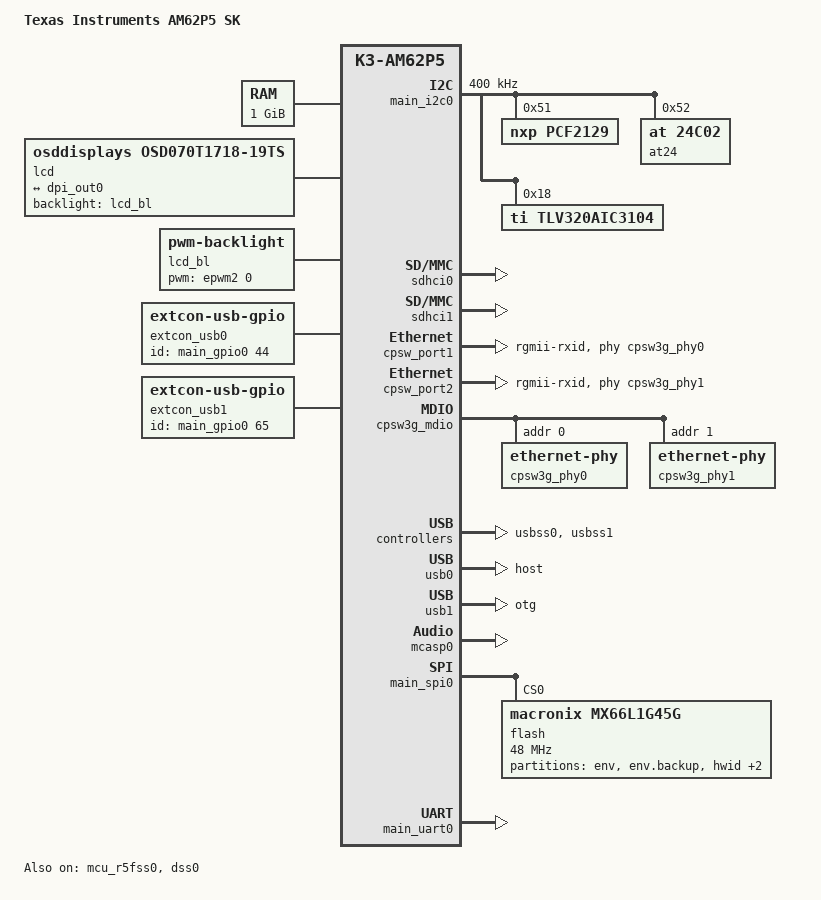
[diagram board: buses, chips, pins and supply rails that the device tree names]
// SPDX-License-Identifier: GPL-2.0-only OR MIT
/*
 * Device Tree file for the AM62P5-SK
 * Copyright (C) 2023-2024 Texas Instruments Incorporated - https://www.ti.com/
 *
 * Schematics: https://www.ti.com/lit/zip/sprr487
 */

/dts-v1/;

#include <dt-bindings/leds/common.h>
#include <dt-bindings/gpio/gpio.h>
#include <dt-bindings/net/ti-dp83867.h>
#include "k3-am62p5.dtsi"

/ {
	compatible = "ti,am62p5-sk", "ti,am62p5";
	model = "Texas Instruments AM62P5 SK";

	aliases {
		//serial0 = &wkup_uart0;
		serial2 = &main_uart0;
		//serial3 = &main_uart1;
		//mmc0 = &sdhci0;
		mmc1 = &sdhci1;
		//mmc2 = &sdhci2;
		spi0 = &main_spi0;
		ethernet0 = &cpsw_port1;
		ethernet1 = &cpsw_port2;
		//usb0 = &usb0;
		//usb1 = &usb1;
	};

	chosen {
		stdout-path = &main_uart0;
	};

	memory@80000000 {
		/* 1G RAM */
		reg = <0x00000000 0x80000000 0x00000000 0x40000000>;
		device_type = "memory";
		bootph-pre-ram;
	};

	reserved-memory {
		#address-cells = <2>;
		#size-cells = <2>;
		ranges;

		secure_tfa_ddr: tfa@9e780000 {
			reg = <0x00 0x9e780000 0x00 0x80000>;
			no-map;
		};

		secure_ddr: optee@9e800000 {
			reg = <0x00 0x9e800000 0x00 0x01800000>; /* for OP-TEE */
			no-map;
		};

		wkup_r5fss0_core0_memory_region: r5f-dma-memory@9c900000 {
			compatible = "shared-dma-pool";
			reg = <0x00 0x9c900000 0x00 0x01e00000>;
			no-map;
		};
	};

//	vmain_pd: regulator-0 {
//		/* TPS65988 PD CONTROLLER OUTPUT */
//		compatible = "regulator-fixed";
//		regulator-name = "vmain_pd";
//		regulator-min-microvolt = <5000000>;
//		regulator-max-microvolt = <5000000>;
//		regulator-always-on;
//		regulator-boot-on;
//		bootph-all;
//	};
//
//	vcc_5v0: regulator-1 {
//		/* Output of TPS630702RNMR */
//		compatible = "regulator-fixed";
//		regulator-name = "vcc_5v0";
//		regulator-min-microvolt = <5000000>;
//		regulator-max-microvolt = <5000000>;
//		vin-supply = <&vmain_pd>;
//		regulator-always-on;
//		regulator-boot-on;
//		bootph-all;
//	};
//
//	vdd_mmc1: regulator-2 {
//		/* TPS22918DBVR */
//		compatible = "regulator-fixed";
//		regulator-name = "vdd_mmc1";
//		regulator-min-microvolt = <3300000>;
//		regulator-max-microvolt = <3300000>;
//		regulator-boot-on;
//		enable-active-high;
//		gpio = <&exp1 3 GPIO_ACTIVE_HIGH>;
//		bootph-all;
//	};
//
//	vddshv_sdio: regulator-3 {
//		compatible = "regulator-gpio";
//		regulator-name = "vddshv_sdio";
//		pinctrl-names = "default";
//		pinctrl-0 = <&vddshv_sdio_pins_default>;
//		regulator-min-microvolt = <1800000>;
//		regulator-max-microvolt = <3300000>;
//		regulator-boot-on;
//		gpios = <&main_gpio0 31 GPIO_ACTIVE_HIGH>;
//		states = <1800000 0x0>,
//			 <3300000 0x1>;
//		bootph-all;
//	};
//
//	leds {
//		compatible = "gpio-leds";
//		pinctrl-names = "default";
//		pinctrl-0 = <&usr_led_pins_default>;
//
//		led-0 {
//			label = "am62-sk:green:heartbeat";
//			gpios = <&main_gpio1 49 GPIO_ACTIVE_HIGH>;
//			linux,default-trigger = "heartbeat";
//			function = LED_FUNCTION_HEARTBEAT;
//			default-state = "off";
//		};
//	};
//
//	tlv320_mclk: clk-0 {
//		#clock-cells = <0>;
//		compatible = "fixed-clock";
//		clock-frequency = <12288000>;
//	};
//
//	codec_audio: sound {
//		compatible = "simple-audio-card";
//		simple-audio-card,name = "AM62x-SKEVM";
//		simple-audio-card,widgets =
//			"Headphone",	"Headphone Jack",
//			"Line",		"Line In",
//			"Microphone",	"Microphone Jack";
//		simple-audio-card,routing =
//			"Headphone Jack",	"HPLOUT",
//			"Headphone Jack",	"HPROUT",
//			"LINE1L",		"Line In",
//			"LINE1R",		"Line In",
//			"MIC3R",		"Microphone Jack",
//			"Microphone Jack",	"Mic Bias";
//		simple-audio-card,format = "dsp_b";
//		simple-audio-card,bitclock-master = <&sound_master>;
//		simple-audio-card,frame-master = <&sound_master>;
//		simple-audio-card,bitclock-inversion;
//
//		simple-audio-card,cpu {
//			sound-dai = <&mcasp1>;
//		};
//
//		sound_master: simple-audio-card,codec {
//			sound-dai = <&tlv320aic3106>;
//			clocks = <&tlv320_mclk>;
//		};
//	};
//
//	hdmi0: connector-hdmi {
//		compatible = "hdmi-connector";
//		label = "hdmi";
//		type = "a";
//		port {
//			hdmi_connector_in: endpoint {
//				remote-endpoint = <&sii9022_out>;
//			};
//		};
//	};
	// LCD Display
	display0 {
			compatible ="osddisplays,osd070t1718-19ts";
			label = "lcd";
			backlight = <&lcd_bl>;
			port {
				lcd_in0: endpoint {
						remote-endpoint = <&dpi_out0>;
						};
				};
		};

	// LCD PWM backlight
	lcd_bl: backlight {
        	compatible = "pwm-backlight";
                pwms = <&epwm2 0 5000000 0>;
                brightness-levels =
                       	<0 32 64 96 128 160 192 224 255>;
                default-brightness-level = <5>;
        };
	
//	// Watchdog 
//	watchdog {
//		compatible = "ti,tps3823_wdt";
//	};
	// USB0 extcon
	extcon_usb0: extcon-usb0 {
		compatible = "linux,extcon-usb-gpio";
		id-gpios = <&main_gpio0 44 GPIO_ACTIVE_HIGH>;
	};
	// USB1 extcon
	extcon_usb1: extcon-usb1 {
		compatible = "linux,extcon-usb-gpio";
		id-gpios = <&main_gpio0 65 GPIO_ACTIVE_HIGH>;
	};

//	// Sound
//	sound {
//		compatible = "simple-audio-card";
//		simple-audio-card,name = "AM62P-GHMI-SOUND";
//		simple-audio-card,widgets =
//					"Headphone", "Headphone Jack";
//		simple-audio-card,routing =
//					"Headphone Jack",       "HPLOUT",
//					"Headphone Jack",       "HPROUT";
//		simple-audio-card,format = "i2s";
//		simple-audio-card,bitclock-master = <&sound_master>;
//		simple-audio-card,frame-master = <&sound_master>;
//		simple-audio-card,bitclock-inversion;
//
//		simple-audio-card,cpu {
//					sound-dai = <&mcasp0>;
//		};
//
//		sound_master: simple-audio-card,codec {
//						sound-dai = <&tlv320aic3104>;
//						system-clock-frequency = <12000000>;
//		};
//	};

//	// CAN LED
//	canleds {
//		compatible = "gpio-leds";
//		pinctrl-names = "default";
//		pinctrl-0 = <&CANLED_pins_default>;
//
//		can1-led {
//			label = "can1led";
//			gpios = <&main_gpio0 35 GPIO_ACTIVE_LOW>;
//			linux,default-trigger = "none";
//			default-state = "off";
//		};
//		can2-led {
//			label = "can2led";
//			gpios = <&main_gpio0 34 GPIO_ACTIVE_LOW>;
//			linux,default-trigger = "none";
//			default-state = "off";
//		};
//	};
//
//	// CAN2 Phy
//	transceiver2: can-phy@1 {
//		compatible = "ti,tcan1042";
//		#phy-cells = <0>;
//		max-bitrate = <5000000>;
//		pinctrl-names = "default";
//		pinctrl-0 = <&can1_stb_pins_default>;
//		standby-gpios = <&main_gpio0 39 GPIO_ACTIVE_LOW>;
//	};
};

&main_gpio0 {
	bootph-all;
};

&main_gpio1 {
	bootph-all;
};

&main_pmx0 {
	bootph-all;

	main_i2c0_pins_default: main-i2c0-default-pins {
		pinctrl-single,pins = <
			AM62PX_IOPAD(0x01e0, PIN_INPUT_PULLUP, 0) /* (B25) I2C0_SCL */
			AM62PX_IOPAD(0x01e4, PIN_INPUT_PULLUP, 0) /* (A24) I2C0_SDA */
		>;
	};

//	main_i2c1_pins_default: main-i2c1-default-pins {
//		pinctrl-single,pins = <
//			AM62PX_IOPAD(0x01e8, PIN_INPUT_PULLUP, 0) /* (C24) I2C1_SCL */
//			AM62PX_IOPAD(0x01ec, PIN_INPUT_PULLUP, 0) /* (B24) I2C1_SDA */
//		>;
//		bootph-all;
//	};
//
//	main_i2c2_pins_default: main-i2c2-default-pins {
//		pinctrl-single,pins = <
//			AM62PX_IOPAD(0x00b0, PIN_INPUT_PULLUP, 1) /* (T22) GPMC0_CSn2.I2C2_SCL */
//			AM62PX_IOPAD(0x00b4, PIN_INPUT_PULLUP, 1) /* (U25) GPMC0_CSn3.I2C2_SDA */
//		>;
//	};
//
//	main_gpio1_ioexp_intr_pins_default: main-gpio1-ioexp-intr-default-pins {
//		pinctrl-single,pins = <
//			AM62PX_IOPAD(0x01d4, PIN_INPUT, 7) /* (C22) UART0_RTSn.GPIO1_23 */
//		>;
//	};

	main_mcasp0_pins_default: main-mcasp0-default-pins {
		pinctrl-single,pins = <
			AM62PX_IOPAD(0x01a4, PIN_INPUT, 0) /* (F24) MCASP0_ACLKX */
			AM62PX_IOPAD(0x01a8, PIN_INPUT, 0) /* (F25) MCASP0_AFSX */
			AM62PX_IOPAD(0x01a0, PIN_INPUT, 0) /* (F23) MCASP0_AXR0 */
		>;
	};

	main_mdio1_pins_default: main-mdio1-default-pins {
		pinctrl-single,pins = <
			AM62PX_IOPAD(0x0160, PIN_OUTPUT, 0) /* (F17) MDIO0_MDC */
			AM62PX_IOPAD(0x015c, PIN_INPUT, 0) /* (F16) MDIO0_MDIO */
		>;
	};

	main_mmc1_pins_default: main-mmc1-default-pins {
		pinctrl-single,pins = <
			AM62PX_IOPAD(0x023c, PIN_INPUT, 0) /* (H20) MMC1_CMD */
			AM62PX_IOPAD(0x0234, PIN_OUTPUT, 0) /* (J24) MMC1_CLK */
			AM62PX_IOPAD(0x0230, PIN_INPUT, 0) /* (H21) MMC1_DAT0 */
			AM62PX_IOPAD(0x022c, PIN_INPUT_PULLUP, 0) /* (H23) MMC1_DAT1 */
			AM62PX_IOPAD(0x0228, PIN_INPUT_PULLUP, 0) /* (H22) MMC1_DAT2 */
			AM62PX_IOPAD(0x0224, PIN_INPUT_PULLUP, 0) /* (H25) MMC1_DAT3 */
			AM62PX_IOPAD(0x0240, PIN_INPUT, 0) /* (D23) MMC1_SDCD */
		>;
		bootph-all;
	};

//	main_mmc2_pins_default: main-mmc2-default-pins {
//		pinctrl-single,pins = <
//			AM62PX_IOPAD(0x0120, PIN_INPUT, 0) /* (K24) MMC2_CMD */
//			AM62PX_IOPAD(0x0118, PIN_OUTPUT, 0) /* (K21) MMC2_CLK */
//			AM62PX_IOPAD(0x011C, PIN_INPUT, 0) /* () MMC2_CLKLB */
//			AM62PX_IOPAD(0x0114, PIN_INPUT, 0) /* (K23) MMC2_DAT0 */
//			AM62PX_IOPAD(0x0110, PIN_INPUT_PULLUP, 0) /* (K22) MMC2_DAT1 */
//			AM62PX_IOPAD(0x010c, PIN_INPUT_PULLUP, 0) /* (L20) MMC2_DAT2 */
//			AM62PX_IOPAD(0x0108, PIN_INPUT_PULLUP, 0) /* (L21) MMC2_DAT3 */
//		>;
//		bootph-all;
//	};

	main_rgmii1_pins_default: main-rgmii1-default-pins {
		pinctrl-single,pins = <
			AM62PX_IOPAD(0x014c, PIN_INPUT, 0) /* (B15) RGMII1_RD0 */
			AM62PX_IOPAD(0x0150, PIN_INPUT, 0) /* (B16) RGMII1_RD1 */
			AM62PX_IOPAD(0x0154, PIN_INPUT, 0) /* (A14) RGMII1_RD2 */
			AM62PX_IOPAD(0x0158, PIN_INPUT, 0) /* (B14) RGMII1_RD3 */
			AM62PX_IOPAD(0x0148, PIN_INPUT, 0) /* (A16) RGMII1_RXC */
			AM62PX_IOPAD(0x0144, PIN_INPUT, 0) /* (A15) RGMII1_RX_CTL */
			AM62PX_IOPAD(0x0134, PIN_INPUT, 0) /* (A18) RGMII1_TD0 */
			AM62PX_IOPAD(0x0138, PIN_INPUT, 0) /* (C17) RGMII1_TD1 */
			AM62PX_IOPAD(0x013c, PIN_INPUT, 0) /* (A17) RGMII1_TD2 */
			AM62PX_IOPAD(0x0140, PIN_INPUT, 0) /* (C16) RGMII1_TD3 */
			AM62PX_IOPAD(0x0130, PIN_INPUT, 0) /* (B17) RGMII1_TXC */
			AM62PX_IOPAD(0x012c, PIN_INPUT, 0) /* (B18) RGMII1_TX_CTL */
		>;
		bootph-all;
	};

	main_rgmii2_pins_default: main-rgmii2-default-pins {
		pinctrl-single,pins = <
			AM62PX_IOPAD(0x0184, PIN_INPUT, 0) /* (E19) RGMII2_RD0 */
			AM62PX_IOPAD(0x0188, PIN_INPUT, 0) /* (E16) RGMII2_RD1 */
			AM62PX_IOPAD(0x018c, PIN_INPUT, 0) /* (E17) RGMII2_RD2 */
			AM62PX_IOPAD(0x0190, PIN_INPUT, 0) /* (C19) RGMII2_RD3 */
			AM62PX_IOPAD(0x0180, PIN_INPUT, 0) /* (D19) RGMII2_RXC */
			AM62PX_IOPAD(0x017c, PIN_INPUT, 0) /* (F19) RGMII2_RX_CTL */
			AM62PX_IOPAD(0x016c, PIN_INPUT, 0) /* (B19) RGMII2_TD0 */
			AM62PX_IOPAD(0x0170, PIN_INPUT, 0) /* (A21) RGMII2_TD1 */
			AM62PX_IOPAD(0x0174, PIN_INPUT, 0) /* (D17) RGMII2_TD2 */
			AM62PX_IOPAD(0x0178, PIN_INPUT, 0) /* (A19) RGMII2_TD3 */
			AM62PX_IOPAD(0x0168, PIN_INPUT, 0) /* (D16) RGMII2_TXC */
			AM62PX_IOPAD(0x0164, PIN_INPUT, 0) /* (A20) RGMII2_TX_CTL */
		>;
		bootph-all;
	};

	// Debug console
	main_uart0_pins_default: main-uart0-default-pins {
		pinctrl-single,pins = <
			AM62PX_IOPAD(0x1c8, PIN_INPUT, 0)	/* (A22) UART0_RXD */
			AM62PX_IOPAD(0x1cc, PIN_OUTPUT, 0)	/* (B22) UART0_TXD */
		>;
		bootph-all;
	};

	// UART1 - RS485
	main_uart6_pins_default: main-uart6-default-pins {
		pinctrl-single,pins = <
			AM62PX_IOPAD(0x0194, PIN_INPUT, 3) /* (D25) MCASP0_AXR3.UART6_RXD */
			AM62PX_IOPAD(0x0120, PIN_OUTPUT, 3) /* (K24) MMC2_CMD.UART6_TXD */	
		>;
	};
	// UART1 - RS485-Enable-pin
	UART1EN_pins_default: UART1EN_pins_default {
		pinctrl-single,pins = <
			AM62PX_IOPAD(0x0024, PIN_OUTPUT, 7) /* (P21) UART6_RTSn.GPIO0_9 */
		>;
	};

	// UART4 - RS485
	main_uart1_pins_default: main-uart1-default-pins {
		pinctrl-single,pins = <
			AM62PX_IOPAD(0x01e8, PIN_INPUT, 1) /* (C24) I2C1_SCL.UART1_RXD */
			AM62PX_IOPAD(0x01ec, PIN_OUTPUT, 1) /* (B24) I2C1_SDA.UART1_TXD */
			
		>;
	};
	// UART4 - RS485-Enable-pin
	UART4EN_pins_default: UART4EN_pins_default {
		pinctrl-single,pins = <
			AM62PX_IOPAD(0x0198, PIN_OUTPUT, 7) /* (E25) UART1_RTSn.GPIO1_8 */
		>;
	};

	main_usb1_pins_default: main-usb1-default-pins {
		pinctrl-single,pins = <
			AM62PX_IOPAD(0x0258, PIN_INPUT, 0) /* (G21) USB1_DRVVBUS */
		>;
	};
	main_usb0_pins_default: main-usb0-default-pins {
		pinctrl-single,pins = <
			AM62PX_IOPAD(0x0254, PIN_OUTPUT, 0) /* (G22) USB0_DRVVBUS */
		>;
	};

//	main_wlirq_pins_default: main-wlirq-default-pins {
//		pinctrl-single,pins = <
//			AM62PX_IOPAD(0x0128, PIN_INPUT, 7) /* (K25) MMC2_SDWP.GPIO0_72 */
//		>;
//	};
//
//	ospi0_pins_default: ospi0-default-pins {
//		pinctrl-single,pins = <
//			AM62PX_IOPAD(0x0000, PIN_OUTPUT, 0) /* (P23) OSPI0_CLK */
//			AM62PX_IOPAD(0x002c, PIN_OUTPUT, 0) /* (M25) OSPI0_CSn0 */
//			AM62PX_IOPAD(0x000c, PIN_INPUT, 0) /* (L25) OSPI0_D0 */
//			AM62PX_IOPAD(0x0010, PIN_INPUT, 0) /* (N24) OSPI0_D1 */
//			AM62PX_IOPAD(0x0014, PIN_INPUT, 0) /* (N25) OSPI0_D2 */
//			AM62PX_IOPAD(0x0018, PIN_INPUT, 0) /* (M24) OSPI0_D3 */
//			AM62PX_IOPAD(0x001c, PIN_INPUT, 0) /* (N21) OSPI0_D4 */
//			AM62PX_IOPAD(0x0020, PIN_INPUT, 0) /* (N22) OSPI0_D5 */
//			AM62PX_IOPAD(0x0024, PIN_INPUT, 0) /* (P21) OSPI0_D6 */
//			AM62PX_IOPAD(0x0028, PIN_INPUT, 0) /* (N20) OSPI0_D7 */
//			AM62PX_IOPAD(0x0008, PIN_INPUT, 0) /* (P22) OSPI0_DQS */
//		>;
//		bootph-all;
//	};
//
//	usr_led_pins_default: usr-led-default-pins {
//		pinctrl-single,pins = <
//			AM62PX_IOPAD(0x0244, PIN_INPUT, 7) /* (D24) MMC1_SDWP.GPIO1_49 */
//		>;
//	};
//
//	vddshv_sdio_pins_default: vddshvr-sdio-default-pins {
//		pinctrl-single,pins = <
//			AM62PX_IOPAD(0x007c, PIN_INPUT, 7) /* (Y25) GPMC0_CLK.GPIO0_31 */
//		>;
//		bootph-all;
//	};
//
//	wlan_en_pins_default: wlan-en-default-pins {
//		pinctrl-single,pins = <
//			AM62PX_IOPAD(0x0124, PIN_INPUT, 7) /* (J25) MMC2_SDCD.GPIO0_71 */
//		>;
//	};
	// Display
	main_dpi_pins_default: main-dpi-default-pins {
		pinctrl-single,pins = <
			AM62PX_IOPAD(0x0100, PIN_OUTPUT, 0) /* (W20) VOUT0_VSYNC */
			AM62PX_IOPAD(0x00f8, PIN_OUTPUT, 0) /* (AC20) VOUT0_HSYNC */
			AM62PX_IOPAD(0x0104, PIN_OUTPUT, 0) /* (Y21) VOUT0_PCLK */
			AM62PX_IOPAD(0x00fc, PIN_OUTPUT, 0) /* (W21) VOUT0_DE */
			AM62PX_IOPAD(0x00b8, PIN_OUTPUT, 0) /* (AE24) VOUT0_DATA0 */
			AM62PX_IOPAD(0x00bc, PIN_OUTPUT, 0) /* (W23) VOUT0_DATA1 */
			AM62PX_IOPAD(0x00c0, PIN_OUTPUT, 0) /* (AA23) VOUT0_DATA2 */
			AM62PX_IOPAD(0x00c4, PIN_OUTPUT, 0) /* (Y23) VOUT0_DATA3 */
			AM62PX_IOPAD(0x00c8, PIN_OUTPUT, 0) /* (AB23) VOUT0_DATA4 */
			AM62PX_IOPAD(0x00cc, PIN_OUTPUT, 0) /* (AD23) VOUT0_DATA5 */
			AM62PX_IOPAD(0x00d0, PIN_OUTPUT, 0) /* (AC23) VOUT0_DATA6 */
			AM62PX_IOPAD(0x00d4, PIN_OUTPUT, 0) /* (AE23) VOUT0_DATA7 */
			AM62PX_IOPAD(0x00d8, PIN_OUTPUT, 0) /* (AE22) VOUT0_DATA8 */
			AM62PX_IOPAD(0x00dc, PIN_OUTPUT, 0) /* (AC22) VOUT0_DATA9 */
			AM62PX_IOPAD(0x00e0, PIN_OUTPUT, 0) /* (W22) VOUT0_DATA10 */
			AM62PX_IOPAD(0x00e4, PIN_OUTPUT, 0) /* (AE21) VOUT0_DATA11 */
			AM62PX_IOPAD(0x00e8, PIN_OUTPUT, 0) /* (AD21) VOUT0_DATA12 */
			AM62PX_IOPAD(0x00ec, PIN_OUTPUT, 0) /* (AC21) VOUT0_DATA13 */
			AM62PX_IOPAD(0x00f0, PIN_OUTPUT, 0) /* (AA20) VOUT0_DATA14 */
			AM62PX_IOPAD(0x00f4, PIN_OUTPUT, 0) /* (Y20) VOUT0_DATA15 */
			AM62PX_IOPAD(0x005c, PIN_OUTPUT, 1) /* (AC25) GPMC0_AD8.VOUT0_DATA16 */
			AM62PX_IOPAD(0x0060, PIN_OUTPUT, 1) /* (AB25) GPMC0_AD9.VOUT0_DATA17 */
			AM62PX_IOPAD(0x0064, PIN_OUTPUT, 1) /* (AA25) GPMC0_AD10.VOUT0_DATA18 */
			AM62PX_IOPAD(0x0068, PIN_OUTPUT, 1) /* (W24) GPMC0_AD11.VOUT0_DATA19 */
			AM62PX_IOPAD(0x006c, PIN_OUTPUT, 1) /* (Y24) GPMC0_AD12.VOUT0_DATA20 */
			AM62PX_IOPAD(0x0070, PIN_OUTPUT, 1) /* (AD25) GPMC0_AD13.VOUT0_DATA21 */
			AM62PX_IOPAD(0x0074, PIN_OUTPUT, 1) /* (AB24) GPMC0_AD14.VOUT0_DATA22 */
			AM62PX_IOPAD(0x0078, PIN_OUTPUT, 1) /* (AC24) GPMC0_AD15.VOUT0_DATA23 */
		>;
	};
	gpio_pins_default: gpio-default-pins {
		pinctrl-single,pins = <
			AM62PX_IOPAD(0x0000, PIN_OUTPUT, 7) /* (P23) OSPI0_CLK.GPIO0_0 BUZZER */
			AM62PX_IOPAD(0x0004, PIN_INPUT, 7) /* (N23) OSPI0_LBCLKO.GPIO0_1 GPIOIN3 */
			AM62PX_IOPAD(0x0008, PIN_INPUT, 7) /* (P22) OSPI0_DQS.GPIO0_2 GPIOIN2 */
			AM62PX_IOPAD(0x000c, PIN_INPUT, 7) /* (L25) OSPI0_D0.GPIO0_3 GPIOIN1 */
			AM62PX_IOPAD(0x0010, PIN_INPUT, 7) /* (N24) OSPI0_D1.GPIO0_4 EPOIN */
			AM62PX_IOPAD(0x0014, PIN_OUTPUT, 7) /* (N25) OSPI0_D2.GPIO0_5 LCD_RGB_VLED_EN */
			AM62PX_IOPAD(0x0018, PIN_INPUT, 7) /* (M24) OSPI0_D3.GPIO0_6 TS2046_BUSY */
			AM62PX_IOPAD(0x0020, PIN_INPUT, 7) /* (N22) OSPI0_D5.GPIO0_8 UPS_PWR_FAILn */
			AM62PX_IOPAD(0x0028, PIN_OUTPUT, 7) /* (N20) OSPI0_D7.GPIO0_10 KBFCLEAROUT */
			AM62PX_IOPAD(0x002c, PIN_INPUT, 7) /* (M25) OSPI0_CSn0.GPIO0_11 DI1 */
			AM62PX_IOPAD(0x0030, PIN_INPUT, 7) /* (L24) OSPI0_CSn1.GPIO0_12 DI2 */
			AM62PX_IOPAD(0x0034, PIN_INPUT, 7) /* (L22) OSPI0_CSn2.GPIO0_13 DI3 */
			AM62PX_IOPAD(0x0038, PIN_INPUT, 7) /* (L23) OSPI0_CSn3.GPIO0_14 DI4 */
			AM62PX_IOPAD(0x003c, PIN_INPUT, 7) /* (U22) GPMC0_AD0.GPIO0_15 DI5 */
			AM62PX_IOPAD(0x0040, PIN_OUTPUT, 7) /* (U21) GPMC0_AD1.GPIO0_16 LCD_LVDS_VLED_EN */
			AM62PX_IOPAD(0x0044, PIN_INPUT, 7) /* (U20) GPMC0_AD2.GPIO0_17 DI6 */
			AM62PX_IOPAD(0x0048, PIN_INPUT, 7) /* (V25) GPMC0_AD3.GPIO0_18 DI7 */
			AM62PX_IOPAD(0x004c, PIN_INPUT, 7) /* (T20) GPMC0_AD4.GPIO0_19 DI8 */
			AM62PX_IOPAD(0x0050, PIN_INPUT, 7) /* (T21) GPMC0_AD5.GPIO0_20 DI9 */
			AM62PX_IOPAD(0x0054, PIN_INPUT, 7) /* (V24) GPMC0_AD6.GPIO0_21 DI10 */
			AM62PX_IOPAD(0x0058, PIN_INPUT, 7) /* (W25) GPMC0_AD7.GPIO0_22 BOOTMODE_7 */
			AM62PX_IOPAD(0x007c, PIN_OUTPUT, 7) /* (Y25) GPMC0_CLK.GPIO0_31 ETH1_RESETn */
			AM62PX_IOPAD(0x0088, PIN_OUTPUT, 7) /* (R24) GPMC0_OEn_REn.GPIO0_33 ETH2_RESETn */
			AM62PX_IOPAD(0x0094, PIN_OUTPUT, 7) /* (T24) GPMC0_BE1n.GPIO0_36 DO3 */
			AM62PX_IOPAD(0x0098, PIN_OUTPUT, 7) /* (AA24) GPMC0_WAIT0.GPIO0_37 DO2 */
			AM62PX_IOPAD(0x009c, PIN_OUTPUT, 7) /* (AD24) GPMC0_WAIT1.GPIO0_38 DO1 */
			AM62PX_IOPAD(0x00a4, PIN_OUTPUT, 7) /* (P25) GPMC0_DIR.GPIO0_40 TP_RSTn */
			AM62PX_IOPAD(0x00a8, PIN_INPUT, 7) /* (T23) GPMC0_CSn0.GPIO0_41 TP_INTn */
			AM62PX_IOPAD(0x00ac, PIN_OUTPUT, 7) /* (U23) GPMC0_CSn1.GPIO0_42 AUD_RESETn */
			AM62PX_IOPAD(0x00b0, PIN_OUTPUT, 7) /* (T22) GPMC0_CSn2.GPIO0_43 LCD_RGB_MODE */
			AM62PX_IOPAD(0x010c, PIN_OUTPUT, 7) /* (L20) MMC2_DAT2.GPIO0_66 Watch_Dog_EN */
			AM62PX_IOPAD(0x0110, PIN_OUTPUT, 7) /* (K22) MMC2_DAT1.GPIO0_67 Watch_Dog_DI */
		>;
	};
	// USB_0_ID
	pinctrl_usb0_id: main-gpio0-44-pins-default{
		pinctrl-single,pins = <
			AM62PX_IOPAD(0x00b4, PIN_INPUT, 7) /* (U25) GPMC0_CSn3.GPIO0_44 USB0_ID */
		>;
	};
	// USB_1_ID
	pinctrl_usb1_id: main-gpio0-65-pins-default{
		pinctrl-single,pins = <
			AM62PX_IOPAD(0x0108, PIN_INPUT, 7) /* (L21) MMC2_DAT3.GPIO0_65 USB1_ID */
		>;
	};
	// +++ PWM +++ 
	// PWM B/G
	epwm0_pins: pinmux-epwm0-pins {
		pinctrl-single,pins = <
			AM62PX_IOPAD(0x01ac, PIN_OUTPUT, 6) /* (G23) MCASP0_AFSR.EHRPWM0_A PWM_B */
			AM62PX_IOPAD(0x01b0, PIN_OUTPUT, 6) /* (G20) MCASP0_ACLKR.EHRPWM0_B PWM_G */
		>;
	};
	// PWM R
	epwm1_pins: pinmux-epwm1-pins {
		pinctrl-single,pins = <
			AM62PX_IOPAD(0x019c, PIN_OUTPUT, 6) /* (E24) MCASP0_AXR1.EHRPWM1_A PWM_R */
		>;
	};
	// PWM LCD Backlight
	epwm2_pins: pinmux-epwm2-pins {
		pinctrl-single,pins = <
			AM62PX_IOPAD(0x0124, PIN_OUTPUT, 4) /* (J25) MMC2_SDCD.EHRPWM2_A LCD_RGB_PWM */
			AM62PX_IOPAD(0x0128, PIN_OUTPUT, 4) /* (K25) MMC2_SDWP.EHRPWM2_B LCD_LVDS_PWM */
		>;
	};
	// --- PWM ---
	// CAN 1
	can0_pins_default: can0-pins-default {
		pinctrl-single,pins = <
			AM62PX_IOPAD(0x01dc, PIN_INPUT, 0) /* (F20) MCAN0_RX */
			AM62PX_IOPAD(0x01d8, PIN_OUTPUT, 0) /* (B23) MCAN0_TX */
		>;
	};
	// CANLED 
	CANLED_pins_default: CANLED-pins-default {
		pinctrl-single,pins = <
			AM62PX_IOPAD(0x008c, PIN_OUTPUT, 7) /* (T25) GPMC0_WEn.GPIO0_34 CAN2LED */
			AM62PX_IOPAD(0x0090, PIN_OUTPUT, 7) /* (U24) GPMC0_BE0n_CLE.GPIO0_35 CAN1LED */
		>;
	};
	// CAN1 STB
	can1_stb_pins_default: can1-stb-pins-default {
		pinctrl-single,pins = <
			AM62PX_IOPAD(0x00a0, PIN_OUTPUT, 7) /* (P24) GPMC0_WPn.GPIO0_39 CAN2_STB_1 */
		>;
	};
	// Touchscreen PEN IRQ
	penirq_pins: pinmux_penirq_pins {
		pinctrl-single,pins = <
			AM62PX_IOPAD(0x001c, PIN_INPUT, 7) /* (N21) OSPI0_D4.GPIO0_7 TS2046_PENIRQ */
		>;
	};
	// MAIN_SPI0
	main_spi0_pins_default: main-spi0-pins-default {
		pinctrl-single,pins = <
			AM62PX_IOPAD(0x01bc, PIN_INPUT, 0) /* (B21) SPI0_CLK */
			AM62PX_IOPAD(0x01b4, PIN_INPUT, 0) /* (D20) SPI0_CS0 */
			AM62PX_IOPAD(0x01c0, PIN_INPUT, 0) /* (B20) SPI0_D0 */
			AM62PX_IOPAD(0x01c4, PIN_INPUT, 0) /* (C21) SPI0_D1 */
		>;
	};
};

&main_i2c0 {
	status = "okay";
	pinctrl-names = "default";
	pinctrl-0 = <&main_i2c0_pins_default>;
	clock-frequency = <400000>;

	// i2c0 RTC PCF2129
	pcf2129: rtc@51 {
				compatible = "nxp,pcf2129";
				reg = <0x51>;
				status = "okay";
		};

	// i2c0 EEPROM
	at24: 24c02@52 {
				compatible = "at,24c02";
				pagesize = <8>;
				reg = <0x52>;
		};

	// Audio tlv320aic3104
	tlv320aic3104: tlv320aic3104@18 {
		compatible = "ti,tlv320aic3104";
		reg = <0x18>;
		status = "okay";
	};
};

//&main_i2c1 {
//	status = "okay";
//	pinctrl-names = "default";
//	pinctrl-0 = <&main_i2c1_pins_default>;
//	clock-frequency = <100000>;
//	bootph-all;
//
//	tlv320aic3106: audio-codec@1b {
//		#sound-dai-cells = <0>;
//		compatible = "ti,tlv320aic3106";
//		reg = <0x1b>;
//		ai3x-micbias-vg = <1>;  /* 2.0V */
//	};
//
//	exp1: gpio@22 {
//		compatible = "ti,tca6424";
//		reg = <0x22>;
//		gpio-controller;
//		#gpio-cells = <2>;
//		gpio-line-names = "OLDI_INT#", "x8_NAND_DETECT",
//				   "UART1_FET_SEL", "MMC1_SD_EN",
//				   "VPP_EN", "EXP_PS_3V3_EN",
//				   "UART1_FET_BUF_EN", "EXP_HAT_DETECT",
//				   "DSI_GPIO0", "DSI_GPIO1",
//				   "OLDI_EDID", "BT_UART_WAKE_SOC_3V3",
//				   "USB_TYPEA_OC_INDICATION", "CSI_GPIO0",
//				   "CSI_GPIO1", "WLAN_ALERTn",
//				   "HDMI_INTn", "TEST_GPIO2",
//				   "MCASP1_FET_EN", "MCASP1_BUF_BT_EN",
//				   "MCASP1_FET_SEL", "DSI_EDID",
//				   "PD_I2C_IRQ", "IO_EXP_TEST_LED";
//
//		interrupt-parent = <&main_gpio1>;
//		interrupts = <23 IRQ_TYPE_EDGE_FALLING>;
//		interrupt-controller;
//		#interrupt-cells = <2>;
//
//		pinctrl-names = "default";
//		pinctrl-0 = <&main_gpio1_ioexp_intr_pins_default>;
//		bootph-all;
//	};

//	exp2: gpio@23 {
//		compatible = "ti,tca6424";
//		reg = <0x23>;
//		gpio-controller;
//		#gpio-cells = <2>;
//		gpio-line-names = "BT_EN_SOC", "EXP_PS_5V0_EN",
//				   "", "",
//				   "", "",
//				   "", "",
//				   "WL_LT_EN", "",
//				   "TP3", "TP6",
//				   "TP4", "TP7",
//				   "TP5", "TP8",
//				   "SoC_I2C2_MCAN_SEL", "GPIO_HDMI_RSTn",
//				   "GPIO_CPSW2_RST", "GPIO_CPSW1_RST",
//				   "GPIO_OLDI_RSTn", "GPIO_AUD_RSTn",
//				   "GPIO_eMMC_RSTn", "SoC_WLAN_SDIO_RST";
//	};
//
//	sii9022: bridge-hdmi@3b {
//		compatible = "sil,sii9022";
//		reg = <0x3b>;
//		interrupt-parent = <&exp1>;
//		interrupts = <16 IRQ_TYPE_EDGE_FALLING>;
//		#sound-dai-cells = <0>;
//		sil,i2s-data-lanes = < 0 >;
//
//		hdmi_tx_ports: ports {
//			#address-cells = <1>;
//			#size-cells = <0>;
//
//			/*
//			 * HDMI can be serviced with 3 potential VPs -
//			 * (DSS0 VP1 / DSS1 VP0 / DSS1 VP1).
//			 * For now, we will service it with DSS0 VP1.
//			 */
//			port@0 {
//				reg = <0>;
//
//				sii9022_in: endpoint {
//					remote-endpoint = <&dss0_dpi1_out>;
//				};
//			};
//
//			port@1 {
//				reg = <1>;
//
//				sii9022_out: endpoint {
//					remote-endpoint = <&hdmi_connector_in>;
//				};
//			};
//		};
//	};
//};

//&main_i2c2 {
//	status = "okay";
//	pinctrl-names = "default";
//	pinctrl-0 = <&main_i2c2_pins_default>;
//	clock-frequency = <400000>;
//};

&sdhci0 {
	status = "okay";
	ti,driver-strength-ohm = <50>;
	disable-wp;
	bootph-all;
};

&sdhci1 {
	/* SD/MMC */
	status = "okay";
	//vmmc-supply = <&vdd_mmc1>;
	//vqmmc-supply = <&vddshv_sdio>;
	/* Disable all the UHS modes */
	/delete-property/ ti,otap-del-sel-sdr12;
	/delete-property/ ti,otap-del-sel-sdr25;
	/delete-property/ ti,otap-del-sel-sdr50;
	/delete-property/ ti,otap-del-sel-ddr50;
	/delete-property/ ti,otap-del-sel-sdr104;
	no-1-8-v;
	pinctrl-names = "default";
	pinctrl-0 = <&main_mmc1_pins_default>;
	disable-wp;
	bootph-all;
};

&cpsw3g {
	pinctrl-names = "default";
	pinctrl-0 = <&main_rgmii1_pins_default>,
		    <&main_rgmii2_pins_default>;
};

&cpsw_port1 {
	phy-mode = "rgmii-rxid";
	phy-handle = <&cpsw3g_phy0>;
};

&cpsw_port2 {
	phy-mode = "rgmii-rxid";
	phy-handle = <&cpsw3g_phy1>;
};

&cpsw3g_mdio {
	pinctrl-names = "default";
	pinctrl-0 = <&main_mdio1_pins_default>;
	status = "okay";

	cpsw3g_phy0: ethernet-phy@0 {
		reg = <0>;
		ti,rx-internal-delay = <DP83867_RGMIIDCTL_2_00_NS>;
		ti,fifo-depth = <DP83867_PHYCR_FIFO_DEPTH_4_B_NIB>;
		ti,min-output-impedance;
	};

	cpsw3g_phy1: ethernet-phy@1 {
		reg = <1>;
		ti,rx-internal-delay = <DP83867_RGMIIDCTL_2_00_NS>;
		ti,fifo-depth = <DP83867_PHYCR_FIFO_DEPTH_4_B_NIB>;
		ti,min-output-impedance;
	};
};

&usbss0 {
	status = "okay";
	ti,vbus-divider;
};

&usbss1 {
	status = "okay";
	ti,vbus-divider;
};

&usb0 {
	pinctrl-names = "default";
	pinctrl-0 = <&main_usb0_pins_default &pinctrl_usb0_id>;
	extcon = <&extcon_usb0>;
	status = "okay";
	dr_mode = "host";
};

&usb1 {
	pinctrl-names = "default";
	pinctrl-0 = <&main_usb1_pins_default &pinctrl_usb1_id>;
	extcon = <&extcon_usb1>;
	status = "okay";
	dr_mode = "otg";
};

&mcasp0 {
	status = "okay";
	#sound-dai-cells = <0>;

	pinctrl-names = "default";
	pinctrl-0 = <&main_mcasp0_pins_default>;

	op-mode = <0>;          /* MCASP_IIS_MODE */
	tdm-slots = <2>;

	serial-dir = <  /* 0: INACTIVE, 1: TX, 2: RX */
	       1 0 0 0
	       0 0 0 0
	       0 0 0 0
	       0 0 0 0
	>;
	tx-num-evt = <32>;
	rx-num-evt = <32>;
};

&fss {
	bootph-all;
};

//&ospi0 {
//	status = "okay";
//	pinctrl-names = "default";
//	pinctrl-0 = <&ospi0_pins_default>;
//	bootph-all;
//
//	flash@0{
//		compatible = "jedec,spi-nor";
//		reg = <0x0>;
//		spi-tx-bus-width = <8>;
//		spi-rx-bus-width = <8>;
//		spi-max-frequency = <25000000>;
//		cdns,tshsl-ns = <60>;
//		cdns,tsd2d-ns = <60>;
//		cdns,tchsh-ns = <60>;
//		cdns,tslch-ns = <60>;
//		cdns,read-delay = <4>;
//		cdns,phy-mode;
//		bootph-all;
//
//		partitions {
//			compatible = "fixed-partitions";
//			#address-cells = <1>;
//			#size-cells = <1>;
//			bootph-all;
//
//			partition@0 {
//				label = "ospi.tiboot3";
//				reg = <0x00 0x80000>;
//			};
//
//			partition@80000 {
//				label = "ospi.tispl";
//				reg = <0x80000 0x200000>;
//			};
//
//			partition@280000 {
//				label = "ospi.u-boot";
//				reg = <0x280000 0x400000>;
//			};
//
//			partition@680000 {
//				label = "ospi.env";
//				reg = <0x680000 0x40000>;
//			};
//
//			partition@6c0000 {
//				label = "ospi.env.backup";
//				reg = <0x6c0000 0x40000>;
//			};
//
//			partition@800000 {
//				label = "ospi.rootfs";
//				reg = <0x800000 0x37c0000>;
//			};
//
//			partition@3fc0000 {
//				label = "ospi.phypattern";
//				reg = <0x3fc0000 0x40000>;
//				bootph-all;
//			};
//		};
//	};
//};

&mailbox0_cluster0 {
	mbox_r5_0: mbox-r5-0 {
		ti,mbox-rx = <0 0 0>;
		ti,mbox-tx = <1 0 0>;
	};
};

&mailbox0_cluster1 {
	mbox_mcu_r5_0: mbox-mcu-r5-0 {
		ti,mbox-rx = <0 0 0>;
		ti,mbox-tx = <1 0 0>;
	};
};

&mcu_pmx0 {
	bootph-all;
	mymcu_gpio1_pins_default: mymcu_gpio1-default-pins {
		pinctrl-single,pins = <
			AM62PX_MCU_IOPAD(0x0004, PIN_INPUT, 7) /* (E10) MCU_SPI0_CS1.MCU_GPIO0_1 PMIC_INT */
		>;
	};

	// CAN 2 
	mcu_can0_pins_default: mcu-can0-pins-default {
		pinctrl-single,pins = <
			AM62PX_MCU_IOPAD(0x0038, PIN_INPUT, 0) /* (D6) MCU_MCAN0_RX */
			AM62PX_MCU_IOPAD(0x0034, PIN_OUTPUT, 0) /* (E8) MCU_MCAN0_TX */
		>;
	};

	// MCU_SPI0
	mcu_spi0_pins_default: mcu-spi0-pins-default {
		pinctrl-single,pins = <
			AM62PX_MCU_IOPAD(0x0008, PIN_INPUT, 0) /* (C10) MCU_SPI0_CLK */
			AM62PX_MCU_IOPAD(0x0000, PIN_INPUT, 0) /* (B10) MCU_SPI0_CS0 */
			AM62PX_MCU_IOPAD(0x000c, PIN_INPUT, 0) /* (B11) MCU_SPI0_D0 */
			AM62PX_MCU_IOPAD(0x0010, PIN_INPUT, 0) /* (D10) MCU_SPI0_D1 */
		>;
	};

	// UART2 - RS232
	mcu_uart0_pins_default: mcu-uart0-default-pins {
		pinctrl-single,pins = <
			AM62PX_MCU_IOPAD(0x0014, PIN_INPUT, 0) /* (B6) MCU_UART0_RXD */
			AM62PX_MCU_IOPAD(0x0018, PIN_OUTPUT, 0) /* (C8) MCU_UART0_TXD */
		>;
	};

	// UART3 - RS485
	wkup_uart0_pins_default: wkup-uart0-default-pins {
		pinctrl-single,pins = <
			AM62PX_MCU_IOPAD(0x0024, PIN_INPUT, 0) /* (D8) WKUP_UART0_RXD */
			AM62PX_MCU_IOPAD(0x0028, PIN_OUTPUT, 0) /* (D7) WKUP_UART0_TXD */
			
		>;
	};
	// UART3 - RS485-Enable-pin
	UART3EN_pins_default: UART3EN_pins_default {
		pinctrl-single,pins = <
			AM62PX_MCU_IOPAD(0x0030, PIN_OUTPUT, 7) /* (C6) WKUP_UART0_RTSn.MCU_GPIO0_12 */
		>;
	};
};

//&wkup_uart0 {
//	/* WKUP UART0 is used by DM firmware */
//	pinctrl-names = "default";
//	pinctrl-0 = <&wkup_uart0_pins_default>;
//	status = "reserved";
//	bootph-all;
//};
//
///* mcu_gpio0 and mcu_gpio_intr are reserved for mcu firmware usage */
//&mcu_gpio0 {
//	status = "reserved";
//};
//
//&mcu_gpio_intr {
//	status = "reserved";
//};

&mcu_r5fss0 {
	status = "okay";
};

&dss_oldi_io_ctrl {
	bootph-all;
};

&dss0 {
	bootph-all;
	status = "okay";
	pinctrl-names = "default";
	pinctrl-0 = <&main_dpi_pins_default>;
};

&dss0_ports {
		#address-cells = <1>;
		#size-cells = <0>;

		port@1 {
				reg = <1>;
				dpi_out0: endpoint {
						remote-endpoint = <&lcd_in0>;
						/*data-lines = <24>;*/
				};
		};
};

// MAIN_SPI0 for 128M Flash
&main_spi0 {
		status = "okay";
		pinctrl-names = "default";
		pinctrl-0 = <&main_spi0_pins_default>;
		#address-cells = <1>;
		#size-cells= <0>;
		ti,pindir-d0-out-d1-in = <1>;

		flash@0{
				compatible = "macronix,mx66l1g45g", "jedec,spi-nor";
				reg = <0x0>;
				spi-tx-bus-width = <1>;
				spi-rx-bus-width = <1>;
				spi-max-frequency = <48000000>;
				#address-cells = <1>;
				#size-cells= <1>;

				partition@0 {
						label = "env";
						reg = <0x0 0x20000>;
				};
				partition@1 {
						label = "env.backup";
						reg = <0x20000 0x20000>;
				};
				partition@2 {
						label = "hwid";
						reg = <0x40000 0x20000>;
				};
				partition@3 {
						label = "persistent";
						reg = <0x60000 0x80000>;
				};
				partition@4 {
						label = "Application";
						reg = <0xE0000 0x7F20000>;
				};
		};
};

// main_uart0 | UART0 | /dev/ttyS2 | RS232(Debug console)
&main_uart0 {
	pinctrl-names = "default";
	pinctrl-0 = <&main_uart0_pins_default>;
	//interrupts-extended = <&gic500 GIC_SPI 178 IRQ_TYPE_LEVEL_HIGH>,
	//		<&main_pmx0 0x1c8>; /* (D14) UART0_RXD PADCONFIG114 */
	//interrupt-names = "irq", "wakeup";
	status = "okay";
	bootph-all;
};
